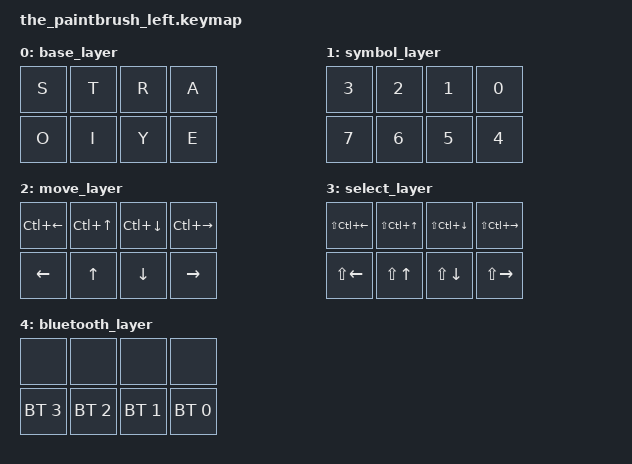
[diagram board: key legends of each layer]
#include <behaviors.dtsi>
#include <dt-bindings/zmk/keys.h>
#include <dt-bindings/zmk/bt.h>

#define BTN_IT 3
#define BTN_MT 2
#define BTN_RT 1
#define BTN_PT 0

#define BTN_IB 7
#define BTN_MB 6
#define BTN_RB 5
#define BTN_PB 4

#define COMBO(LAYERS, NAME, KEYS, BINDINGS) \
  combo_##NAME { \
    timeout-ms = <130>; \
    key-positions = <KEYS>; \
    bindings = <BINDINGS>; \
    layers = <LAYERS>; \
  };

&sk {
  release-after-ms = <10000>;
};

&sl {
  release-after-ms = <10000>;
};

#define BASE_LAYER_ID 0
#define SYMBOL_LAYER_ID 1
#define MOVE_LAYER_ID 2
#define SELECT_LAYER_ID 3
#define BLUETOOTH_LAYER_ID 4

/ {
  keymap {
    compatible = "zmk,keymap";
    base_layer {
      bindings = <
        &kp S  &kp T  &kp R  &kp A
        &kp O  &kp I  &kp Y  &kp E
      >;
    };
    symbol_layer {
      bindings = <
        &kp NUMBER_3  &kp NUMBER_2  &kp NUMBER_1  &kp NUMBER_0
        &kp NUMBER_7  &kp NUMBER_6  &kp NUMBER_5  &kp NUMBER_4
      >;
    };
    move_layer {
      bindings = <
        &kp LC(LEFT_ARROW)  &kp LC(UP_ARROW)  &kp LC(DOWN_ARROW)  &kp LC(RIGHT_ARROW)
        &kp LEFT_ARROW      &kp UP_ARROW      &kp DOWN_ARROW      &kp RIGHT_ARROW
      >;
    };
    select_layer {
      bindings = <
        &kp LS(LC(LEFT_ARROW))  &kp LS(LC(UP_ARROW))  &kp LS(LC(DOWN_ARROW))  &kp LS(LC(RIGHT_ARROW))
        &kp LS(LEFT_ARROW)      &kp LS(UP_ARROW)      &kp LS(DOWN_ARROW)      &kp LS(RIGHT_ARROW)
      >;
    };
    bluetooth_layer {
      bindings = <
        &none          &none          &none          &none
        &bt BT_SEL 3   &bt BT_SEL 2   &bt BT_SEL 1   &bt BT_SEL 0
      >;
    };
  };
};

/ {
  combos {
    compatible = "zmk,combos";

    // Return to base layer from all layers
    COMBO(BASE_LAYER_ID SYMBOL_LAYER_ID MOVE_LAYER_ID SELECT_LAYER_ID BLUETOOTH_LAYER_ID, layer_base, BTN_PT BTN_PB, &to BASE_LAYER_ID)

    // Add whitespace controls to base, move, and select layers
    COMBO(BASE_LAYER_ID MOVE_LAYER_ID SELECT_LAYER_ID, space,     BTN_IB BTN_MB BTN_RB BTN_PB, &kp SPACE)
    COMBO(BASE_LAYER_ID MOVE_LAYER_ID SELECT_LAYER_ID, enter,     BTN_IT BTN_IB,               &kp ENTER)
    COMBO(BASE_LAYER_ID MOVE_LAYER_ID SELECT_LAYER_ID, escape,    BTN_IT BTN_MT BTN_PB,        &kp ESCAPE)
    COMBO(BASE_LAYER_ID MOVE_LAYER_ID SELECT_LAYER_ID, tab,       BTN_IT BTN_MT BTN_RT BTN_PB, &kp TAB)
    COMBO(BASE_LAYER_ID MOVE_LAYER_ID SELECT_LAYER_ID, backspace, BTN_MT BTN_IB,               &kp BACKSPACE)
    COMBO(BASE_LAYER_ID MOVE_LAYER_ID SELECT_LAYER_ID, delete,    BTN_MT BTN_RB,               &kp DELETE)

    // Add modifiers to base, symbol, and move layers
    COMBO(BASE_LAYER_ID SYMBOL_LAYER_ID MOVE_LAYER_ID SELECT_LAYER_ID, control,      BTN_PT BTN_IB,               &sk LEFT_CONTROL)
    COMBO(BASE_LAYER_ID SYMBOL_LAYER_ID MOVE_LAYER_ID SELECT_LAYER_ID, gui,          BTN_PT BTN_MB,               &sk LEFT_GUI)
    COMBO(BASE_LAYER_ID SYMBOL_LAYER_ID MOVE_LAYER_ID SELECT_LAYER_ID, alt,          BTN_PT BTN_RB,               &sk LEFT_ALT)
    COMBO(BASE_LAYER_ID SYMBOL_LAYER_ID MOVE_LAYER_ID SELECT_LAYER_ID, shift,        BTN_MT BTN_RT BTN_PT BTN_IB, &sk LEFT_SHIFT)
    COMBO(BASE_LAYER_ID SYMBOL_LAYER_ID MOVE_LAYER_ID SELECT_LAYER_ID, shift_toggle, BTN_MT BTN_MB,               &kt LEFT_SHIFT)

    // Base layer
    ////////////////////

    COMBO(BASE_LAYER_ID, b, BTN_IB BTN_PB,        &kp B)
    COMBO(BASE_LAYER_ID, c, BTN_IB BTN_MB,        &kp C)
    COMBO(BASE_LAYER_ID, d, BTN_IT BTN_MT BTN_RT, &kp D)
    COMBO(BASE_LAYER_ID, f, BTN_IT BTN_MT,        &kp F)
    COMBO(BASE_LAYER_ID, g, BTN_MT BTN_RT,        &kp G)
    COMBO(BASE_LAYER_ID, h, BTN_IB BTN_RB,        &kp H)
    COMBO(BASE_LAYER_ID, j, BTN_RT BTN_PT,        &kp J)
    COMBO(BASE_LAYER_ID, k, BTN_MB BTN_PB,        &kp K)
    COMBO(BASE_LAYER_ID, l, BTN_IB BTN_MB BTN_RB, &kp L)
    COMBO(BASE_LAYER_ID, m, BTN_MB BTN_RB BTN_PB, &kp M)
    COMBO(BASE_LAYER_ID, n, BTN_RB BTN_PB,        &kp N)
    COMBO(BASE_LAYER_ID, p, BTN_IB BTN_RB BTN_PB, &kp P)
    COMBO(BASE_LAYER_ID, q, BTN_IT BTN_RT BTN_PT, &kp Q)
    COMBO(BASE_LAYER_ID, u, BTN_MB BTN_RB,        &kp U)
    COMBO(BASE_LAYER_ID, v, BTN_MT BTN_PT,        &kp V)
    COMBO(BASE_LAYER_ID, w, BTN_IT BTN_PT,        &kp W)
    COMBO(BASE_LAYER_ID, x, BTN_MT BTN_RT BTN_PT, &kp X)
    COMBO(BASE_LAYER_ID, z, BTN_IT BTN_RT,        &kp Z)

    COMBO(BASE_LAYER_ID, apostrophe, BTN_IT BTN_MB BTN_RB, &kp APOSTROPHE)
    COMBO(BASE_LAYER_ID, period,     BTN_IT BTN_MB,        &kp PERIOD)
    COMBO(BASE_LAYER_ID, colon,      BTN_IT BTN_RB,        &kp COLON)
    COMBO(BASE_LAYER_ID, question,   BTN_IT BTN_PB,        &kp QUESTION)

    COMBO(BASE_LAYER_ID, layer_symbol,    BTN_IT BTN_MT BTN_RT BTN_PT, &sl SYMBOL_LAYER_ID)
    COMBO(BASE_LAYER_ID, layer_move_one,  BTN_RT BTN_IB,               &sl MOVE_LAYER_ID)
    COMBO(BASE_LAYER_ID, layer_move,      BTN_MT BTN_RT BTN_IB,        &to MOVE_LAYER_ID)
    COMBO(BASE_LAYER_ID, layer_bluetooth, BTN_IT BTN_PT BTN_IB BTN_PB, &to BLUETOOTH_LAYER_ID)

    // Symbol layer
    ////////////////////

    COMBO(SYMBOL_LAYER_ID, 8, BTN_IT BTN_MT, &kp NUMBER_8)
    COMBO(SYMBOL_LAYER_ID, 9, BTN_IB BTN_MB, &kp NUMBER_9)

    COMBO(SYMBOL_LAYER_ID, plus,     BTN_IB BTN_RB BTN_PB,        &kp PLUS)
    COMBO(SYMBOL_LAYER_ID, asterisk, BTN_IT BTN_RT BTN_PT,        &kp ASTERISK)
    COMBO(SYMBOL_LAYER_ID, minus,    BTN_IB BTN_MB BTN_RB,        &kp MINUS)
    COMBO(SYMBOL_LAYER_ID, equal,    BTN_MB BTN_RB BTN_PB,        &kp EQUAL)
    COMBO(SYMBOL_LAYER_ID, caret,    BTN_IT BTN_MT BTN_RT BTN_PT, &kp CARET)

    COMBO(SYMBOL_LAYER_ID, left_parenthesis,     BTN_RT BTN_PT,        &kp LEFT_PARENTHESIS)
    COMBO(SYMBOL_LAYER_ID, right_parenthesis,    BTN_MT BTN_RT,        &kp RIGHT_PARENTHESIS)
    COMBO(SYMBOL_LAYER_ID, left_curly_bracket,   BTN_RB BTN_PB,        &kp LEFT_BRACE)
    COMBO(SYMBOL_LAYER_ID, right_curly_bracket,  BTN_RB BTN_MB,        &kp RIGHT_BRACE)
    COMBO(SYMBOL_LAYER_ID, left_square_bracket,  BTN_MT BTN_PT,        &kp LEFT_BRACKET)
    COMBO(SYMBOL_LAYER_ID, right_square_bracket, BTN_IT BTN_RT,        &kp RIGHT_BRACKET)
    COMBO(SYMBOL_LAYER_ID, left_angle_bracket,   BTN_MB BTN_PB,        &kp LESS_THAN)
    COMBO(SYMBOL_LAYER_ID, right_angle_bracket,  BTN_IB BTN_RB,        &kp GREATER_THAN)
    COMBO(SYMBOL_LAYER_ID, forward_slash,        BTN_IT BTN_MT BTN_RT, &kp SLASH)
    COMBO(SYMBOL_LAYER_ID, backward_slash,       BTN_MT BTN_RT BTN_PT, &kp BACKSLASH)

    COMBO(SYMBOL_LAYER_ID, vertical_bar, BTN_IB BTN_PB,               &kp PIPE)
    COMBO(SYMBOL_LAYER_ID, quote,        BTN_IT BTN_MB BTN_RB,        &kp DOUBLE_QUOTES)
    COMBO(SYMBOL_LAYER_ID, comma,        BTN_IT BTN_MB,               &kp COMMA)
    COMBO(SYMBOL_LAYER_ID, semicolon,    BTN_IT BTN_RB,               &kp SEMICOLON)
    COMBO(SYMBOL_LAYER_ID, exclamation,  BTN_IT BTN_PB,               &kp EXCLAMATION)
    COMBO(SYMBOL_LAYER_ID, grave,        BTN_IT BTN_MT BTN_RT BTN_PB, &kp GRAVE)
    COMBO(SYMBOL_LAYER_ID, tilde,        BTN_RT BTN_RB,               &kp TILDE)
    COMBO(SYMBOL_LAYER_ID, at,           BTN_IT BTN_MT BTN_PB,        &kp AT_SIGN)
    COMBO(SYMBOL_LAYER_ID, pound,        BTN_IT BTN_IB,               &kp POUND)
    COMBO(SYMBOL_LAYER_ID, dollar,       BTN_MT BTN_IB,               &kp DOLLAR)
    COMBO(SYMBOL_LAYER_ID, percent,      BTN_MT BTN_RB,               &kp PERCENT)
    COMBO(SYMBOL_LAYER_ID, ampersand,    BTN_IT BTN_PT,               &kp AMPERSAND)
    COMBO(SYMBOL_LAYER_ID, underscore,   BTN_IB BTN_MB BTN_RB BTN_PB, &kp UNDERSCORE)

    // Move layer
    ////////////////////

    COMBO(MOVE_LAYER_ID, move_page_down, BTN_MB BTN_RB, &kp PAGE_DOWN)
    COMBO(MOVE_LAYER_ID, move_page_up,   BTN_MT BTN_RT, &kp PAGE_UP)
    COMBO(MOVE_LAYER_ID, move_home,      BTN_RB BTN_PB, &kp HOME)
    COMBO(MOVE_LAYER_ID, move_end,       BTN_IB BTN_MB, &kp END)

    COMBO(MOVE_LAYER_ID, move_layer_select, BTN_IT BTN_MT BTN_RT BTN_PT, &to SELECT_LAYER_ID)

    // Select layer
    ////////////////////

    COMBO(SELECT_LAYER_ID, select_page_down, BTN_MB BTN_RB, &kp LS(PAGE_DOWN))
    COMBO(SELECT_LAYER_ID, select_page_up,   BTN_MT BTN_RT, &kp LS(PAGE_UP))
    COMBO(SELECT_LAYER_ID, select_home,      BTN_RB BTN_PB, &kp LS(HOME))
    COMBO(SELECT_LAYER_ID, select_end,       BTN_IB BTN_MB, &kp LS(END))

    COMBO(SELECT_LAYER_ID, select_layer_move, BTN_IT BTN_MT BTN_RT BTN_PT, &to MOVE_LAYER_ID)

    // Bluetooth layer
    ////////////////////

    COMBO(BLUETOOTH_LAYER_ID, output_wire, BTN_IT BTN_MT BTN_RT BTN_PT, &bt BT_CLR)

  };
};
